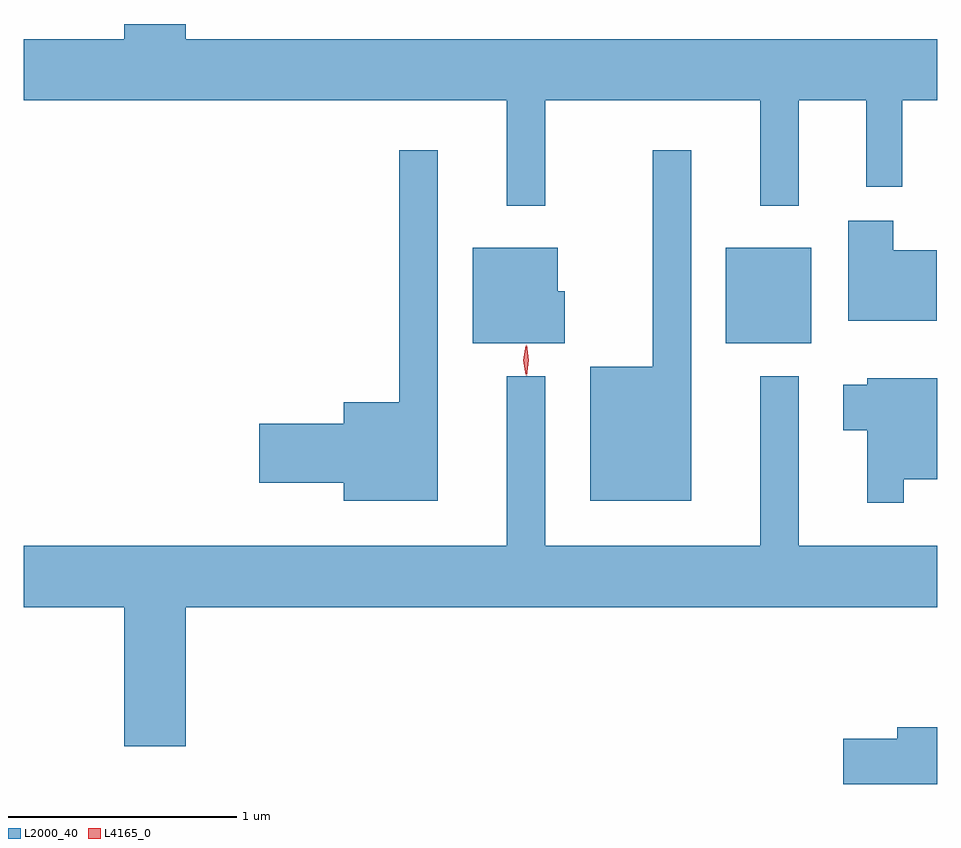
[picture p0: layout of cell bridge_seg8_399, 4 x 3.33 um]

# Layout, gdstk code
import gdstk
lib = gdstk.Library(unit=1e-6, precision=1e-09)
def R(c, l, rs):  # rectangles x0, y0, x1, y1
    for r in rs: c.add(gdstk.rectangle(r[:2], r[2:], *l))
def P(c, l, *ps):  # polygons
    for p in ps: c.add(gdstk.Polygon(p, *l))
L2000_40 = (2000, 40)
L4165_0 = (4165, 0)

bridge_seg8_399 = lib.new_cell('bridge_seg8_399')
R(bridge_seg8_399, L2000_40, [(657.271,1826.471,657.644,1826.889)])
P(bridge_seg8_399, L2000_40, [(656.479,1827.536),(657.421,1827.536),(657.421,1827.073),(657.589,1827.073),(657.589,1827.536),(657.886,1827.536),(657.886,1827.158),(658.044,1827.158),(658.044,1827.536),(658.196,1827.536),(658.196,1827.804),(654.904,1827.804),(654.904,1827.87),(654.636,1827.87),(654.636,1827.804),(654.196,1827.804),(654.196,1827.536),(656.311,1827.536),(656.311,1827.073),(656.479,1827.073)],
  [(656.009,1827.318),(655.841,1827.318),(655.841,1826.214),(655.596,1826.214),(655.596,1826.119),(655.226,1826.119),(655.226,1825.861),(655.596,1825.861),(655.596,1825.781),(656.009,1825.781)],
  [(657.119,1827.318),(656.951,1827.318),(656.951,1826.369),(656.676,1826.369),(656.676,1825.781),(657.119,1825.781)],
  [(658.194,1826.879),(658.004,1826.879),(658.004,1827.009),(657.806,1827.009),(657.806,1826.571),(658.194,1826.571)],
  [(656.564,1826.699),(656.534,1826.699),(656.534,1826.889),(656.161,1826.889),(656.161,1826.471),(656.564,1826.471)],
  [(654.904,1825.316),(658.196,1825.316),(658.196,1825.584),(657.589,1825.584),(657.589,1826.328),(657.421,1826.328),(657.421,1825.584),(656.479,1825.584),(656.479,1826.328),(656.311,1826.328),(656.311,1825.584),(654.196,1825.584),(654.196,1825.316),(654.636,1825.316),(654.636,1824.706),(654.904,1824.706)],
  [(658.049,1825.876),(658.196,1825.876),(658.196,1826.319),(657.891,1826.319),(657.891,1826.289),(657.786,1826.289),(657.786,1826.091),(657.891,1826.091),(657.891,1825.773),(658.049,1825.773)],
  [(658.196,1824.789),(658.021,1824.789),(658.021,1824.739),(657.786,1824.739),(657.786,1824.541),(658.196,1824.541)])
P(bridge_seg8_399, L4165_0, [(656.394,1826.333),(656.384,1826.397),(656.394,1826.461),(656.394,1826.461),(656.394,1826.461),(656.404,1826.397),(656.395,1826.333),(656.395,1826.333)],
  [(656.398,1826.329),(656.398,1826.33),(656.388,1826.397),(656.398,1826.465),(656.398,1826.466),(656.398,1826.465),(656.408,1826.397),(656.398,1826.33)])

lib.write_gds('bridge_seg8_399.gds')
